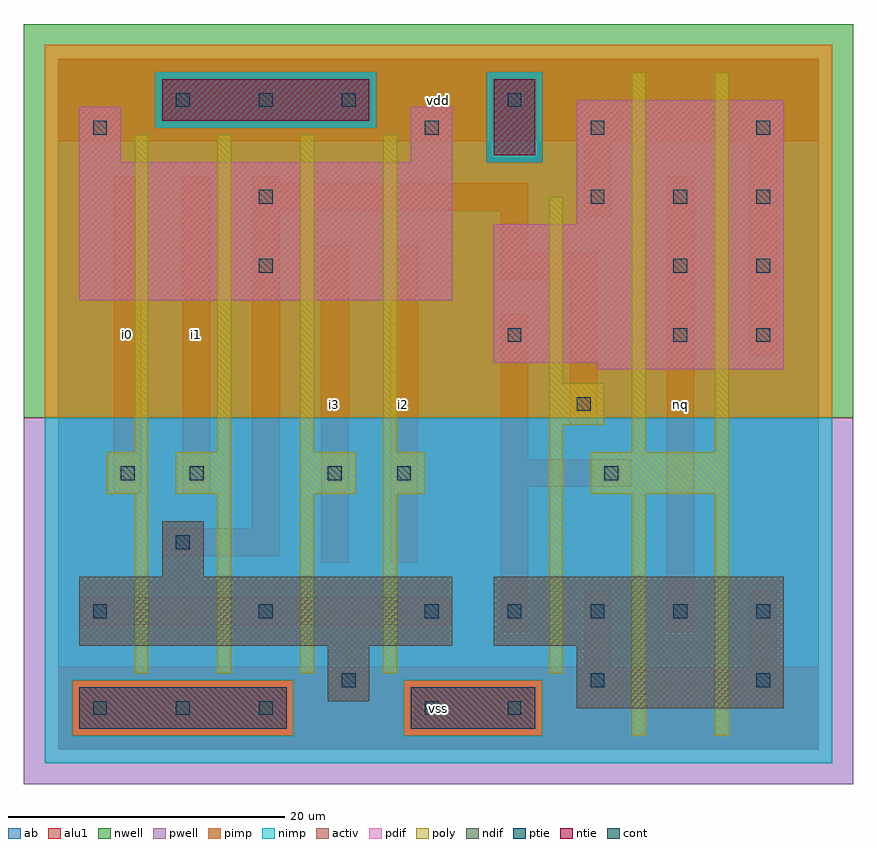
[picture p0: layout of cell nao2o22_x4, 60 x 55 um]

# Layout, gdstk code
import gdstk
lib = gdstk.Library(unit=1e-6, precision=1e-09)
def R(c, l, rs):  # rectangles x0, y0, x1, y1
    for r in rs: c.add(gdstk.rectangle(r[:2], r[2:], *l))
def A(c, l, x, y, w, h, nx, ny, dx, dy):  # array of equal rectangles
    R(c, l, [(x+i*dx, y+j*dy, x+i*dx+w, y+j*dy+h) for i in range(nx) for j in range(ny)])
ndif = (3, 0)
pdif = (4, 0)
ntie = (5, 0)
ptie = (6, 0)
cont = (25, 0)
pwell = (41, 0)
nwell = (42, 0)
activ = (43, 0)
pimp = (44, 0)
nimp = (45, 0)
poly = (46, 0)
alu1 = (49, 0)
ab = (63, 0)

nao2o22_x4 = lib.new_cell('nao2o22_x4')
R(nao2o22_x4, ndif, [(37.5,3,52.5,7.5), (19.5,3.5,22.5,7.5), (1.5,7.5,28.5,12.5), (31.5,7.5,52.5,12.5), (7.5,12.5,10.5,16.5)])
R(nao2o22_x4, pdif, [(39,27.5,52.5,28), (31.5,28,52.5,38), (1.5,32.5,28.5,42.5), (37.5,38,52.5,47), (1.5,42.5,4.5,46.5), (25.5,42.5,28.5,46.5)])
R(nao2o22_x4, ntie, [(31.5,43,34.5,48.5), (7.5,45.5,22.5,48.5)])
R(nao2o22_x4, ptie, [(1.5,1.5,16.5,4.5), (25.5,1.5,34.5,4.5)])
A(nao2o22_x4, cont, 2.5, 2.5, 1, 1, 3, 1, 6, 0)
A(nao2o22_x4, cont, 2.5, 9.5, 1, 1, 3, 1, 12, 0)
A(nao2o22_x4, cont, 32.5, 9.5, 1, 1, 4, 1, 6, 0)
A(nao2o22_x4, cont, 38.5, 39.5, 1, 1, 3, 1, 6, 0)
A(nao2o22_x4, cont, 26.5, 44.5, 1, 1, 3, 1, 12, 0)
A(nao2o22_x4, cont, 8.5, 46.5, 1, 1, 3, 1, 6, 0)
R(nao2o22_x4, cont, [(26.5,2.5,27.5,3.5), (32.5,2.5,33.5,3.5), (20.5,4.5,21.5,5.5), (38.5,4.5,39.5,5.5), (50.5,4.5,51.5,5.5), (8.5,14.5,9.5,15.5), (4.5,19.5,5.5,20.5), (9.5,19.5,10.5,20.5), (19.5,19.5,20.5,20.5), (24.5,19.5,25.5,20.5), (39.5,19.5,40.5,20.5), (37.5,24.5,38.5,25.5), (32.5,29.5,33.5,30.5), (44.5,29.5,45.5,30.5), (50.5,29.5,51.5,30.5), (14.5,34.5,15.5,35.5), (44.5,34.5,45.5,35.5), (50.5,34.5,51.5,35.5), (14.5,39.5,15.5,40.5), (2.5,44.5,3.5,45.5), (32.5,46.5,33.5,47.5)])
R(nao2o22_x4, pwell, [(-2.5,-2.5,57.5,24)])
R(nao2o22_x4, nwell, [(-2.5,24,57.5,52.5)])
R(nao2o22_x4, activ, [(1.5,1.5,16.5,4.5), (25.5,1.5,34.5,4.5), (37.5,3,52.5,7.5), (19.5,3.5,22.5,7.5), (1.5,7.5,28.5,12.5), (31.5,7.5,52.5,12.5), (7.5,12.5,10.5,16.5), (39,27.5,52.5,28), (31.5,28,52.5,38), (1.5,32.5,28.5,42.5), (37.5,38,52.5,47), (1.5,42.5,4.5,46.5), (25.5,42.5,28.5,46.5), (31.5,43,34.5,48.5), (7.5,45.5,22.5,48.5)])
R(nao2o22_x4, pimp, [(1,1,17,5), (25,1,35,5), (-1,24,56,42.5), (-1,42.5,31,45), (35,42.5,56,49), (-1,45,7,49), (23,45,31,49), (-1,49,56,51)])
R(nao2o22_x4, nimp, [(-1,-1,56,1), (-1,1,1,5), (17,1,25,5), (35,1,56,5), (-1,5,56,24), (31,42.5,35,49), (7,45,23,49)])
A(nao2o22_x4, poly, 5.5, 5.5, 1, 13, 4, 1, 6, 0)
A(nao2o22_x4, poly, 5.5, 21.5, 1, 23, 4, 1, 6, 0)
R(nao2o22_x4, poly, [(41.5,1,42.5,18.5), (47.5,1,48.5,18.5), (35.5,5.5,36.5,23.5), (3.5,18.5,6.5,21.5), (8.5,18.5,12.5,21.5), (17.5,18.5,21.5,21.5), (23.5,18.5,26.5,21.5), (38.5,18.5,48.5,21.5), (41.5,21.5,42.5,49), (47.5,21.5,48.5,49), (35.5,23.5,39.5,26.5), (35.5,26.5,36.5,40)])
R(nao2o22_x4, alu1, [(0,0,55,6), (0,0,55,6), (38,6,40,11.5), (38,6,40,11.5), (50,6,52,11.5), (50,6,52,11.5), (32,8.5,34,19), (32,8.5,34,19), (44,8.5,46,41.5), (44,8.5,46,41.5), (1.5,9,28.5,11), (1.5,9,28.5,11), (19,13.5,21,36.5), (19,13.5,21,36.5), (24,13.5,26,36.5), (24,13.5,26,36.5), (7.5,14,16,16), (7.5,14,16,16), (14,16,16,39), (14,16,16,39), (4,18.5,6,41.5), (4,18.5,6,41.5), (9,18.5,11,41.5), (9,18.5,11,41.5), (32,19,41.5,21), (32,19,41.5,21), (32,21,34,31.5), (32,21,34,31.5), (37,23.5,39,34), (37,23.5,39,34), (50,28.5,52,44), (50,28.5,52,44), (32,34,39,36), (32,34,39,36), (32,36,34,39), (32,36,34,39), (38,38.5,40,44), (38,38.5,40,44), (14,39,34,41), (14,39,34,41), (14,41,16,41.5), (14,41,16,41.5), (0,44,55,50), (0,44,55,50)])
R(nao2o22_x4, ab, [(0,0,55,50)])
nao2o22_x4.add(gdstk.Label('i0', (5,30), layer=49, texttype=0))
nao2o22_x4.add(gdstk.Label('i1', (10,30), layer=49, texttype=0))
nao2o22_x4.add(gdstk.Label('i3', (20,25), layer=49, texttype=0))
nao2o22_x4.add(gdstk.Label('i2', (25,25), layer=49, texttype=0))
nao2o22_x4.add(gdstk.Label('vss', (27.5,3), layer=49, texttype=0))
nao2o22_x4.add(gdstk.Label('vdd', (27.5,47), layer=49, texttype=0))
nao2o22_x4.add(gdstk.Label('nq', (45,25), layer=49, texttype=0))

lib.write_gds('nao2o22_x4.gds')
